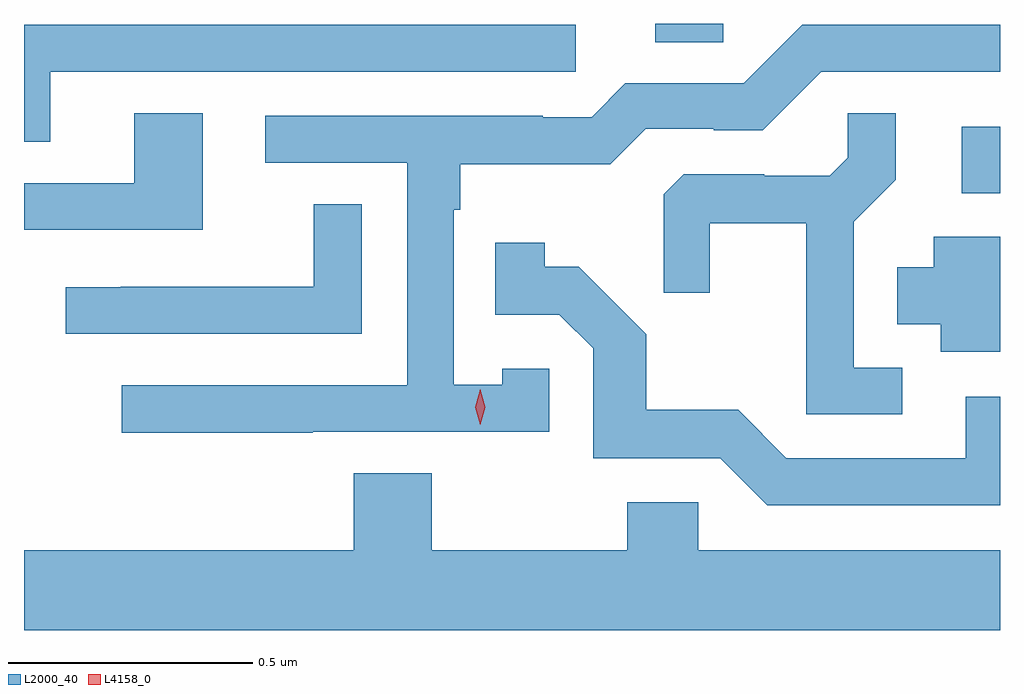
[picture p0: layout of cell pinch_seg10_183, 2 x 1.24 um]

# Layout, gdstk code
import gdstk
lib = gdstk.Library(unit=1e-6, precision=1e-09)
def R(c, l, rs):  # rectangles x0, y0, x1, y1
    for r in rs: c.add(gdstk.rectangle(r[:2], r[2:], *l))
def P(c, l, *ps):  # polygons
    for p in ps: c.add(gdstk.Polygon(p, *l))
L2000_40 = (2000, 40)
L4158_0 = (4158, 0)

pinch_seg10_183 = lib.new_cell('pinch_seg10_183')
R(pinch_seg10_183, L2000_40, [(691.299,1267.911,691.377,1268.047), (690.671,1268.221,690.81,1268.258)])
P(pinch_seg10_183, L2000_40, [(689.431,1268.16),(690.508,1268.16),(690.508,1268.256),(689.377,1268.256),(689.377,1268.017),(689.431,1268.017)],
  [(689.969,1267.422),(690.453,1267.422),(690.453,1267.551),(690.357,1267.551),(690.357,1267.519),(690.258,1267.519),(690.258,1267.877),(690.271,1267.877),(690.271,1267.97),(690.578,1267.97),(690.651,1268.043),(690.79,1268.043),(690.79,1268.04),(690.891,1268.04),(691.011,1268.16),(691.377,1268.16),(691.377,1268.256),(690.972,1268.256),(690.852,1268.136),(690.609,1268.136),(690.54,1268.067),(690.44,1268.067),(690.44,1268.07),(689.871,1268.07),(689.871,1267.974),(690.162,1267.974),(690.162,1267.518),(689.577,1267.518),(689.577,1267.42),(689.969,1267.42)],
  [(691.177,1267.554),(691.077,1267.554),(691.077,1267.853),(691.163,1267.939),(691.163,1268.075),(691.065,1268.075),(691.065,1267.984),(691.028,1267.947),(690.894,1267.947),(690.894,1267.95),(690.729,1267.95),(690.688,1267.909),(690.688,1267.707),(690.782,1267.707),(690.782,1267.85),(690.98,1267.85),(690.98,1267.458),(691.177,1267.458)],
  [(689.743,1268.075),(689.603,1268.075),(689.603,1267.932),(689.377,1267.932),(689.377,1267.836),(689.743,1267.836)],
  [(690.069,1267.889),(689.971,1267.889),(689.971,1267.719),(689.575,1267.719),(689.575,1267.718),(689.463,1267.718),(689.463,1267.623),(690.069,1267.623)],
  [(691.377,1267.822),(691.241,1267.822),(691.241,1267.759),(691.166,1267.759),(691.166,1267.643),(691.256,1267.643),(691.256,1267.586),(691.377,1267.586)],
  [(691.377,1267.494),(691.307,1267.494),(691.307,1267.368),(690.939,1267.368),(690.841,1267.467),(690.652,1267.467),(690.652,1267.622),(690.514,1267.76),(690.444,1267.76),(690.444,1267.81),(690.343,1267.81),(690.343,1267.662),(690.474,1267.662),(690.543,1267.593),(690.543,1267.368),(690.804,1267.368),(690.9,1267.272),(691.377,1267.272)],
  [(691.377,1267.18),(690.759,1267.18),(690.759,1267.278),(690.613,1267.278),(690.613,1267.18),(690.213,1267.18),(690.213,1267.337),(690.053,1267.337),(690.053,1267.18),(689.377,1267.18),(689.377,1267.016),(691.377,1267.016)])
P(pinch_seg10_183, L4158_0, [(690.312,1267.437),(690.312,1267.437),(690.302,1267.473),(690.312,1267.509),(690.312,1267.509),(690.312,1267.509),(690.322,1267.473),(690.312,1267.437)])

lib.write_gds('pinch_seg10_183.gds')
